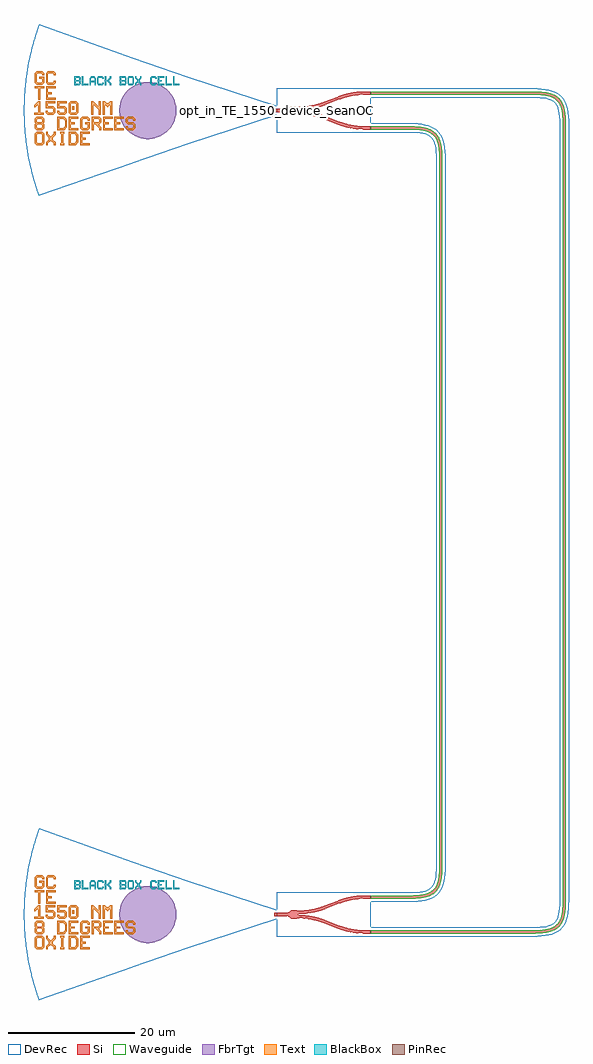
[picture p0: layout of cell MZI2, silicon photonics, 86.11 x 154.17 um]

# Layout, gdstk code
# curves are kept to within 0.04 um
import gdstk
lib = gdstk.Library(unit=1e-6, precision=1e-09)
def R(c, l, rs):  # rectangles x0, y0, x1, y1
    for r in rs: c.add(gdstk.rectangle(r[:2], r[2:], *l))
def P(c, l, *ps):  # polygons
    for p in ps: c.add(gdstk.Polygon(p, *l))
Si = (1, 0)
PinRec = (1, 10)
Waveguide = (1, 99)
Text = (10, 0)
DevRec = (68, 0)
FbrTgt = (81, 0)
BlackBox = (998, 0)

text = lib.new_cell('TEXT')
P(text, BlackBox, [(0,0),(0,1.4),(0.8,1.4),(1,1.2),(0.2,1.2),(0.2,0.8),(0.7,0.8),(0.8,0.9),(0.8,1.1),(0.7,1.2),(1,1.2),(1,0.8),(0.9,0.7),(1,0.6),(0.2,0.6),(0.2,0.2),(0.7,0.2),(0.8,0.3),(0.8,0.5),(0.7,0.6),(1,0.6),(1,0.2),(0.8,0)],
  [(1.2,0),(1.2,1.4),(1.4,1.4),(1.4,0.2),(2.2,0.2),(2.2,0)],
  [(2.4,0),(2.4,1.1),(2.7,1.4),(3.1,1.4),(3.3,1.2),(2.8,1.2),(2.6,1),(2.6,0.7),(3.2,0.7),(3.2,1),(3,1.2),(3.3,1.2),(3.4,1.1),(3.4,0),(3.2,0),(3.2,0.5),(2.6,0.5),(2.6,0)],
  [(3.8,0),(3.6,0.2),(3.6,1.2),(3.8,1.4),(4.4,1.4),(4.6,1.2),(4.6,1),(4.4,1),(4.4,1.1),(4.3,1.2),(3.9,1.2),(3.8,1.1),(3.8,0.3),(3.9,0.2),(4.3,0.2),(4.4,0.3),(4.4,0.4),(4.6,0.4),(4.6,0.2),(4.4,0)],
  [(4.8,0),(4.8,1.4),(5,1.4),(5,0.8),(5.2,0.8),(5.6,1.2),(5.6,1.4),(5.8,1.4),(5.8,1.1),(5.4,0.7),(5.8,0.3),(5.8,0),(5.6,0),(5.6,0.2),(5.2,0.6),(5,0.6),(5,0)],
  [(7.2,0),(7.2,1.4),(8,1.4),(8.2,1.2),(7.4,1.2),(7.4,0.8),(7.9,0.8),(8,0.9),(8,1.1),(7.9,1.2),(8.2,1.2),(8.2,0.8),(8.1,0.7),(8.2,0.6),(7.4,0.6),(7.4,0.2),(7.9,0.2),(8,0.3),(8,0.5),(7.9,0.6),(8.2,0.6),(8.2,0.2),(8,0)],
  [(8.6,0),(8.4,0.2),(8.4,1.2),(8.6,1.4),(9.2,1.4),(9.4,1.2),(9.4,0.7),(9.2,0.7),(9.2,1.1),(9.1,1.2),(8.7,1.2),(8.6,1.1),(8.6,0.3),(8.7,0.2),(9.1,0.2),(9.2,0.3),(9.2,0.7),(9.4,0.7),(9.4,0.2),(9.2,0)],
  [(9.6,0),(9.6,0.3),(9.9,0.6),(9.9,0.8),(9.6,1.1),(9.6,1.4),(9.8,1.4),(9.8,1.2),(10.1,0.9),(10.4,1.2),(10.4,1.4),(10.6,1.4),(10.6,1.1),(10.3,0.8),(10.3,0.6),(10.6,0.3),(10.6,0),(10.4,0),(10.4,0.2),(10.1,0.5),(9.8,0.2),(9.8,0)],
  [(12.2,0),(12,0.2),(12,1.2),(12.2,1.4),(12.8,1.4),(13,1.2),(13,1),(12.8,1),(12.8,1.1),(12.7,1.2),(12.3,1.2),(12.2,1.1),(12.2,0.3),(12.3,0.2),(12.7,0.2),(12.8,0.3),(12.8,0.4),(13,0.4),(13,0.2),(12.8,0)],
  [(13.2,0),(13.2,1.4),(14.2,1.4),(14.2,1.2),(13.4,1.2),(13.4,0.8),(13.8,0.8),(13.8,0.6),(13.4,0.6),(13.4,0.2),(14.2,0.2),(14.2,0)],
  [(14.4,0),(14.4,1.4),(14.6,1.4),(14.6,0.2),(15.4,0.2),(15.4,0)],
  [(15.6,0),(15.6,1.4),(15.8,1.4),(15.8,0.2),(16.6,0.2),(16.6,0)])

gc_te_1550_8degoxide_bb = lib.new_cell('GC_TE_1550_8degOxide_BB')
R(gc_te_1550_8degoxide_bb, Si, [(-0.4,-0.25,0,0.25)])
R(gc_te_1550_8degoxide_bb, Text, [(-32.313,0.092,-32.013,0.692)])
P(gc_te_1550_8degoxide_bb, Text, [(-37.67,1.71),(-37.67,3.51),(-38.27,3.51),(-38.27,3.81),(-36.77,3.81),(-36.77,3.51),(-37.37,3.51),(-37.37,1.71)],
  [(-37.97,-5.49),(-38.27,-5.19),(-38.27,-3.69),(-37.97,-3.39),(-37.07,-3.39),(-36.77,-3.69),(-36.77,-4.44),(-37.07,-4.44),(-37.07,-3.84),(-37.22,-3.69),(-37.82,-3.69),(-37.97,-3.84),(-37.97,-5.04),(-37.82,-5.19),(-37.22,-5.19),(-37.07,-5.04),(-37.07,-4.44),(-36.77,-4.44),(-36.77,-5.19),(-37.07,-5.49)],
  [(-31.07,-5.49),(-31.07,-3.39),(-29.57,-3.39),(-29.57,-3.69),(-30.77,-3.69),(-30.77,-4.29),(-30.17,-4.29),(-30.17,-4.59),(-30.77,-4.59),(-30.77,-5.19),(-29.57,-5.19),(-29.57,-5.49)],
  [(-32.87,-3.09),(-32.87,-0.99),(-31.37,-0.99),(-31.37,-1.29),(-32.57,-1.29),(-32.57,-1.89),(-31.97,-1.89),(-31.97,-2.19),(-32.57,-2.19),(-32.57,-2.79),(-31.37,-2.79),(-31.37,-3.09)],
  [(-27.47,-3.09),(-27.47,-0.99),(-25.97,-0.99),(-25.97,-1.29),(-27.17,-1.29),(-27.17,-1.89),(-26.57,-1.89),(-26.57,-2.19),(-27.17,-2.19),(-27.17,-2.79),(-25.97,-2.79),(-25.97,-3.09)],
  [(-25.67,-3.09),(-25.67,-0.99),(-24.17,-0.99),(-24.17,-1.29),(-25.37,-1.29),(-25.37,-1.89),(-24.77,-1.89),(-24.77,-2.19),(-25.37,-2.19),(-25.37,-2.79),(-24.17,-2.79),(-24.17,-3.09)],
  [(-36.47,1.71),(-36.47,3.81),(-34.97,3.81),(-34.97,3.51),(-36.17,3.51),(-36.17,2.91),(-35.57,2.91),(-35.57,2.61),(-36.17,2.61),(-36.17,2.01),(-34.97,2.01),(-34.97,1.71)],
  [(-29.313,-0.658),(-29.313,1.442),(-29.013,1.442),(-28.263,0.692),(-28.113,0.692),(-28.113,1.442),(-27.813,1.442),(-27.813,-0.658),(-28.113,-0.658),(-28.113,0.092),(-28.863,0.842),(-29.013,0.842),(-29.013,-0.658)],
  [(-34.22,-5.49),(-34.22,-5.19),(-34.07,-5.19),(-34.07,-3.69),(-34.22,-3.69),(-34.22,-3.39),(-33.62,-3.39),(-33.62,-3.69),(-33.77,-3.69),(-33.77,-5.19),(-33.62,-5.19),(-33.62,-5.49)],
  [(-36.17,4.11),(-36.47,4.41),(-36.47,5.91),(-36.17,6.21),(-35.27,6.21),(-34.97,5.91),(-34.97,5.61),(-35.27,5.61),(-35.27,5.76),(-35.42,5.91),(-36.02,5.91),(-36.17,5.76),(-36.17,4.56),(-36.02,4.41),(-35.42,4.41),(-35.27,4.56),(-35.27,4.71),(-34.97,4.71),(-34.97,4.41),(-35.27,4.11)],
  [(-27.513,-0.658),(-27.513,1.442),(-27.213,1.442),(-26.913,1.142),(-26.613,1.142),(-26.313,1.442),(-26.013,1.442),(-26.013,-0.658),(-26.313,-0.658),(-26.313,0.842),(-26.463,0.842),(-26.763,0.542),(-27.063,0.842),(-27.213,0.842),(-27.213,-0.658)],
  [(-32.613,-0.658),(-32.913,-0.358),(-32.913,1.142),(-32.613,1.442),(-31.713,1.442),(-31.413,1.142),(-32.463,1.142),(-32.613,0.992),(-32.613,-0.208),(-32.463,-0.358),(-31.863,-0.358),(-31.713,-0.208),(-31.713,0.992),(-31.863,1.142),(-31.413,1.142),(-31.413,-0.358),(-31.713,-0.658)],
  [(-32.87,-5.49),(-32.87,-3.39),(-31.82,-3.39),(-31.52,-3.69),(-32.57,-3.69),(-32.57,-5.19),(-31.97,-5.19),(-31.67,-4.89),(-31.67,-3.99),(-31.97,-3.69),(-31.52,-3.69),(-31.37,-3.84),(-31.37,-5.04),(-31.82,-5.49)],
  [(-34.67,-3.09),(-34.67,-0.99),(-33.62,-0.99),(-33.32,-1.29),(-34.37,-1.29),(-34.37,-2.79),(-33.77,-2.79),(-33.47,-2.49),(-33.47,-1.59),(-33.77,-1.29),(-33.32,-1.29),(-33.17,-1.44),(-33.17,-2.64),(-33.62,-3.09)],
  [(-23.57,-3.09),(-23.87,-2.79),(-23.87,-2.49),(-23.57,-2.49),(-23.57,-2.64),(-23.42,-2.79),(-22.82,-2.79),(-22.67,-2.64),(-22.67,-2.34),(-22.82,-2.19),(-23.57,-2.19),(-23.87,-1.89),(-23.87,-1.29),(-23.57,-0.99),(-22.67,-0.99),(-22.37,-1.29),(-22.37,-1.59),(-22.67,-1.59),(-22.67,-1.44),(-22.82,-1.29),(-23.42,-1.29),(-23.57,-1.44),(-23.57,-1.74),(-23.42,-1.89),(-22.67,-1.89),(-22.37,-2.19),(-22.37,-2.79),(-22.67,-3.09)],
  [(-36.213,-0.658),(-36.513,-0.358),(-36.513,-0.058),(-36.213,-0.058),(-36.213,-0.208),(-36.063,-0.358),(-35.463,-0.358),(-35.313,-0.208),(-35.313,0.242),(-35.463,0.392),(-36.513,0.392),(-36.513,1.442),(-35.013,1.442),(-35.013,1.142),(-36.213,1.142),(-36.213,0.692),(-35.313,0.692),(-35.013,0.392),(-35.013,-0.358),(-35.313,-0.658)],
  [(-34.413,-0.658),(-34.713,-0.358),(-34.713,-0.058),(-34.413,-0.058),(-34.413,-0.208),(-34.263,-0.358),(-33.663,-0.358),(-33.513,-0.208),(-33.513,0.242),(-33.663,0.392),(-34.713,0.392),(-34.713,1.442),(-33.213,1.442),(-33.213,1.142),(-34.413,1.142),(-34.413,0.692),(-33.513,0.692),(-33.213,0.392),(-33.213,-0.358),(-33.513,-0.658)],
  [(-37.97,-3.09),(-38.27,-2.79),(-38.27,-2.19),(-38.12,-2.04),(-38.27,-1.89),(-38.27,-1.29),(-37.97,-0.99),(-37.07,-0.99),(-36.77,-1.29),(-37.82,-1.29),(-37.97,-1.44),(-37.97,-1.74),(-37.82,-1.89),(-37.22,-1.89),(-37.07,-1.74),(-37.07,-1.44),(-37.22,-1.29),(-36.77,-1.29),(-36.77,-1.89),(-36.92,-2.04),(-36.77,-2.19),(-37.82,-2.19),(-37.97,-2.34),(-37.97,-2.64),(-37.82,-2.79),(-37.22,-2.79),(-37.07,-2.64),(-37.07,-2.34),(-37.22,-2.19),(-36.77,-2.19),(-36.77,-2.79),(-37.07,-3.09)],
  [(-38.313,-0.658),(-38.313,-0.358),(-37.713,-0.358),(-37.713,0.842),(-37.863,0.842),(-38.163,0.542),(-38.313,0.542),(-38.313,0.842),(-37.713,1.442),(-37.413,1.442),(-37.413,-0.358),(-36.813,-0.358),(-36.813,-0.658)],
  [(-36.47,-5.49),(-36.47,-5.04),(-36.02,-4.59),(-36.02,-4.29),(-36.47,-3.84),(-36.47,-3.39),(-36.17,-3.39),(-36.17,-3.69),(-35.72,-4.14),(-35.27,-3.69),(-35.27,-3.39),(-34.97,-3.39),(-34.97,-3.84),(-35.42,-4.29),(-35.42,-4.59),(-34.97,-5.04),(-34.97,-5.49),(-35.27,-5.49),(-35.27,-5.19),(-35.72,-4.74),(-36.17,-5.19),(-36.17,-5.49)],
  [(-30.77,-3.09),(-31.07,-2.79),(-31.07,-1.29),(-30.77,-0.99),(-29.87,-0.99),(-29.57,-1.29),(-29.57,-1.59),(-29.87,-1.59),(-29.87,-1.44),(-30.02,-1.29),(-30.62,-1.29),(-30.77,-1.44),(-30.77,-2.64),(-30.62,-2.79),(-30.02,-2.79),(-29.87,-2.64),(-29.87,-2.19),(-30.32,-2.19),(-30.32,-1.89),(-29.57,-1.89),(-29.57,-2.79),(-29.87,-3.09)],
  [(-37.97,4.11),(-38.27,4.41),(-38.27,5.91),(-37.97,6.21),(-37.07,6.21),(-36.77,5.91),(-36.77,5.61),(-37.07,5.61),(-37.07,5.76),(-37.22,5.91),(-37.82,5.91),(-37.97,5.76),(-37.97,4.56),(-37.82,4.41),(-37.22,4.41),(-37.07,4.56),(-37.07,5.01),(-37.52,5.01),(-37.52,5.31),(-36.77,5.31),(-36.77,4.41),(-37.07,4.11)],
  [(-29.27,-3.09),(-29.27,-0.99),(-28.07,-0.99),(-27.77,-1.29),(-28.97,-1.29),(-28.97,-1.89),(-28.22,-1.89),(-28.07,-1.74),(-28.07,-1.44),(-28.22,-1.29),(-27.77,-1.29),(-27.77,-1.89),(-28.07,-2.19),(-28.07,-2.34),(-27.77,-2.64),(-27.77,-3.09),(-28.07,-3.09),(-28.07,-2.79),(-28.67,-2.19),(-28.97,-2.19),(-28.97,-3.09)])
P(gc_te_1550_8degoxide_bb, DevRec, [(-37.607,-13.5),(-38.627,-10.245),(-39.378,-6.832),(-39.647,-5.058),(-39.835,-3.274),(-39.969,0.224),(-39.812,3.541),(-39.331,7.097),(-38.557,10.505),(-37.546,13.669),(-22.8,8.353),(-14.109,5.36),(0,0.75),(0,-0.75),(-14.109,-5.36)])
P(gc_te_1550_8degoxide_bb, FbrTgt, [(-20.621,-4.5),(-21.495,-4.37),(-22.326,-4.073),(-23.084,-3.619),(-23.738,-3.026),(-24.264,-2.316),(-24.642,-1.518),(-24.857,-0.661),(-24.9,0.221),(-24.77,1.095),(-24.473,1.926),(-24.019,2.684),(-23.426,3.338),(-22.716,3.864),(-21.918,4.242),(-21.061,4.457),(-20.179,4.5),(-19.305,4.37),(-18.474,4.073),(-17.716,3.619),(-17.062,3.026),(-16.536,2.316),(-16.158,1.518),(-15.943,0.661),(-15.9,-0.221),(-16.03,-1.095),(-16.327,-1.926),(-16.781,-2.684),(-17.374,-3.338),(-18.084,-3.864),(-18.882,-4.242),(-19.739,-4.457)])
gc_te_1550_8degoxide_bb.add(gdstk.FlexPath([(-0.01,0),(0.01,0)], 0.5, ends="flush", simple_path=True, layer=1, datatype=10))  # PinRec
gc_te_1550_8degoxide_bb.add(gdstk.Reference(text, (-32,4)))
gc_te_1550_8degoxide_bb.add(gdstk.Label('opt1', (0,0), layer=1, texttype=10))
gc_te_1550_8degoxide_bb.add(gdstk.Label('Lumerical_INTERCONNECT_library=Design kits/ebeam', (-29,-7), layer=68, texttype=0))
gc_te_1550_8degoxide_bb.add(gdstk.Label('Component=GC_TE_1550_8degOxide_BB', (-28,-5), layer=68, texttype=0))

ebeam_y_1550 = lib.new_cell('ebeam_y_1550')
R(ebeam_y_1550, Si, [(6.5,-3,7.4,-2.5), (-7.4,-0.25,-6,0.25), (6.5,2.5,7.4,3)])
P(ebeam_y_1550, Si, [(6.458,-3),(6.237,-2.997),(6.237,-2.497),(6.5,-2.5),(6.5,-3)],
  [(5.033,-2.908),(3.59,-2.634),(2.265,-2.21),(2.445,-1.744),(3.731,-2.154),(5.033,-2.404)],
  [(6.233,-2.997),(5.033,-2.908),(5.033,-2.404),(6.237,-2.497)],
  [(2.265,-2.21),(0.055,-1.356),(0.235,-0.89),(2.445,-1.744)],
  [(-0.762,-1.076),(-2.334,-0.724),(-4,-0.6),(-4,-0.1),(-2.381,-0.212),(-0.762,-0.555)],
  [(0.055,-1.356),(-0.762,-1.076),(-0.762,-0.555),(0.235,-0.89)],
  [(6.237,2.497),(6.237,2.997),(6.5,3),(6.5,2.5)],
  [(2.445,1.744),(2.267,2.211),(3.59,2.634),(5.033,2.908),(5.033,2.404),(3.731,2.154)],
  [(5.033,2.404),(5.033,2.908),(6.237,2.997),(6.237,2.497)],
  [(0.235,0.89),(0.055,1.356),(2.265,2.21),(2.445,1.744)],
  [(-4,0.1),(-4,0.6),(-2.334,0.724),(-0.762,1.076),(-0.762,0.555),(-2.381,0.212)],
  [(-0.762,0.555),(-0.762,1.076),(0.055,1.356),(0.235,0.89)],
  [(-5.122,-0.662),(-5.442,-0.374),(-5.808,-0.255),(-6,-0.25),(-6,0.25),(-5.817,0.253),(-5.442,0.374),(-5.122,0.662)],
  [(-4.957,-0.703),(-5.122,-0.662),(-5.122,0.662),(-4.538,0.703),(-4,0.6),(-4,-0.6),(-4.509,-0.701)])
R(ebeam_y_1550, DevRec, [(-7.4,-3.5,7.4,3.5)])
ebeam_y_1550.add(gdstk.FlexPath([(-7.35,0),(-7.45,0)], 0.5, ends="flush", simple_path=True, layer=1, datatype=10))  # PinRec
ebeam_y_1550.add(gdstk.FlexPath([(7.35,2.75),(7.45,2.75)], 0.5, ends="flush", simple_path=True, layer=1, datatype=10))  # PinRec
ebeam_y_1550.add(gdstk.FlexPath([(7.35,-2.75),(7.45,-2.75)], 0.5, ends="flush", simple_path=True, layer=1, datatype=10))  # PinRec
ebeam_y_1550.add(gdstk.Label('opt2', (7.4,2.75), layer=1, texttype=10))
ebeam_y_1550.add(gdstk.Label('opt3', (7.4,-2.75), layer=1, texttype=10))
ebeam_y_1550.add(gdstk.Label('opt1', (-7.4,0), layer=1, texttype=10))
ebeam_y_1550.add(gdstk.Label('Component=ebeam_y_1550', (-6,1.5), layer=68, texttype=0))
ebeam_y_1550.add(gdstk.Label('Lumerical_INTERCONNECT_library=Design kits/ebeam', (-6.86,-2.19), layer=68, texttype=0))
ebeam_y_1550.add(gdstk.Label('Ref: Y Zhang, Opt. Express, 21/1, 2013', (-7.5,-1), layer=10, texttype=0))

waveguide = lib.new_cell('Waveguide')
P(waveguide, Si, [(16.6,-1.8),(16.6,-1.3),(42.19,-1.3),(43.575,-1.247),(44.931,-0.997),(45.772,-0.581),(46.155,-0.218),(46.399,0.146),(46.744,1.108),(46.901,2.243),(46.94,3.45),(46.94,125.95),(46.902,127.156),(46.745,128.291),(46.4,129.253),(46.156,129.617),(45.773,129.98),(45.284,130.263),(44.803,130.435),(43.397,130.661),(16.6,130.7),(16.6,131.2),(42.19,131.2),(43.622,131.144),(44.64,130.992),(45.358,130.774),(45.962,130.459),(46.367,130.127),(46.771,129.61),(47.015,129.117),(47.233,128.399),(47.367,127.563),(47.436,126.387),(47.44,3.45),(47.384,2.018),(47.232,1),(47.014,0.282),(46.77,-0.211),(46.456,-0.633),(46.07,-0.983),(45.612,-1.261),(45.083,-1.473),(43.621,-1.745),(42.19,-1.8)])
P(waveguide, Waveguide, [(16.6,-1.8),(16.6,-1.3),(42.19,-1.3),(43.575,-1.247),(44.931,-0.997),(45.772,-0.581),(46.155,-0.218),(46.399,0.146),(46.744,1.108),(46.901,2.243),(46.94,3.45),(46.94,125.95),(46.902,127.156),(46.745,128.291),(46.4,129.253),(46.156,129.617),(45.773,129.98),(45.284,130.263),(44.803,130.435),(43.397,130.661),(16.6,130.7),(16.6,131.2),(42.19,131.2),(43.622,131.144),(44.64,130.992),(45.358,130.774),(45.962,130.459),(46.367,130.127),(46.771,129.61),(47.015,129.117),(47.233,128.399),(47.367,127.563),(47.436,126.387),(47.44,3.45),(47.384,2.018),(47.232,1),(47.014,0.282),(46.77,-0.211),(46.456,-0.633),(46.07,-0.983),(45.612,-1.261),(45.083,-1.473),(43.621,-1.745),(42.19,-1.8)])
P(waveguide, DevRec, [(16.6,-2.3),(16.6,-0.8),(42.19,-0.8),(43.934,-0.703),(44.765,-0.525),(45.085,-0.405),(45.565,-0.108),(45.747,0.074),(46.044,0.554),(46.264,1.256),(46.397,2.219),(46.44,3.45),(46.44,125.95),(46.398,127.18),(46.265,128.143),(45.905,129.108),(45.748,129.325),(45.349,129.664),(44.384,130.024),(43.421,130.157),(42.19,130.2),(16.6,130.2),(16.6,131.7),(42.19,131.7),(43.541,131.653),(44.7,131.49),(45.7,131.172),(46.141,130.938),(46.54,130.647),(47.179,129.9),(47.413,129.459),(47.731,128.459),(47.93,126.651),(47.94,3.45),(47.893,2.099),(47.73,0.94),(47.412,-0.06),(47.178,-0.501),(46.539,-1.248),(46.14,-1.539),(45.217,-1.955),(44.699,-2.091),(43.54,-2.254),(42.19,-2.3)])
waveguide.add(gdstk.FlexPath([(16.61,-1.55),(16.59,-1.55)], 0.5, ends="flush", simple_path=True, layer=1, datatype=10))  # PinRec
waveguide.add(gdstk.FlexPath([(16.61,130.95),(16.59,130.95)], 0.5, ends="flush", simple_path=True, layer=1, datatype=10))  # PinRec
waveguide.add(gdstk.Label('opt1', (16.6,-1.55), layer=1, texttype=10))
waveguide.add(gdstk.Label('opt2', (16.6,130.95), layer=1, texttype=10))
waveguide.add(gdstk.Label('Lumerical_INTERCONNECT_library=Design kits/EBeam', (16.6,-1.65), layer=68, texttype=0))
waveguide.add(gdstk.Label('Component=ebeam_wg_integral_1550', (16.6,-1.45), layer=68, texttype=0))
waveguide.add(gdstk.Label('cellName=Waveguide', (16.6,-1.35), layer=68, texttype=0))
waveguide.add(gdstk.Label('Spice_param:wg_length=0.000190577 wg_width=5e-07 points="[[16.6,-1.55],[47.19,-1.55],[47.19,130.95],[16.6,130.95]]" radius=5e-06', (16.6,-1.55), layer=68, texttype=0))
waveguide.add(gdstk.Label('Length=190.577 (microns)', (16.6,-2.15), layer=68, texttype=0))
waveguide.add(gdstk.Label('waveguide_type=Strip TE 1550 nm, w=500 nm', (16.6,-1.75), layer=68, texttype=0))

waveguide_1 = lib.new_cell('Waveguide$1')
P(waveguide_1, Si, [(16.6,3.7),(16.6,4.2),(23.52,4.218),(24.735,4.338),(25.672,4.59),(26.358,4.985),(26.656,5.283),(26.9,5.647),(27.245,6.609),(27.413,7.929),(27.44,120.45),(27.386,121.836),(27.175,123.063),(26.783,123.944),(26.513,124.273),(26.183,124.544),(25.431,124.897),(24.579,125.088),(23.321,125.191),(16.6,125.2),(16.6,125.7),(23.739,125.673),(24.82,125.555),(25.722,125.326),(26.461,124.96),(26.956,124.533),(27.337,123.994),(27.655,123.201),(27.845,122.241),(27.93,121.098),(27.913,7.901),(27.733,6.501),(27.566,5.918),(27.338,5.407),(27.042,4.967),(26.674,4.599),(26.234,4.303),(25.723,4.075),(24.821,3.846),(23.542,3.718)])
P(waveguide_1, Waveguide, [(16.6,3.7),(16.6,4.2),(23.52,4.218),(24.735,4.338),(25.672,4.59),(26.358,4.985),(26.656,5.283),(26.9,5.647),(27.245,6.609),(27.413,7.929),(27.44,120.45),(27.386,121.836),(27.175,123.063),(26.783,123.944),(26.513,124.273),(26.183,124.544),(25.431,124.897),(24.579,125.088),(23.321,125.191),(16.6,125.2),(16.6,125.7),(23.739,125.673),(24.82,125.555),(25.722,125.326),(26.461,124.96),(26.956,124.533),(27.337,123.994),(27.655,123.201),(27.845,122.241),(27.93,121.098),(27.913,7.901),(27.733,6.501),(27.566,5.918),(27.338,5.407),(27.042,4.967),(26.674,4.599),(26.234,4.303),(25.723,4.075),(24.821,3.846),(23.542,3.718)])
P(waveguide_1, DevRec, [(16.6,3.2),(16.6,4.7),(23.34,4.711),(24.435,4.798),(25.586,5.096),(26.066,5.393),(26.248,5.575),(26.545,6.055),(26.765,6.757),(26.898,7.72),(26.94,8.95),(26.94,120.45),(26.897,121.681),(26.764,122.644),(26.404,123.609),(26.247,123.826),(25.848,124.165),(25.265,124.425),(24.434,124.603),(23.339,124.69),(16.6,124.7),(16.6,126.2),(24.04,126.154),(25.199,125.991),(26.199,125.673),(27.039,125.148),(27.387,124.8),(27.678,124.401),(28.094,123.478),(28.328,122.403),(28.429,121.152),(28.44,8.95),(28.394,7.6),(28.231,6.441),(28.095,5.923),(27.679,5),(27.04,4.253),(26.641,3.962),(25.718,3.546),(24.643,3.312),(23.392,3.211)])
waveguide_1.add(gdstk.FlexPath([(16.61,125.45),(16.59,125.45)], 0.5, ends="flush", simple_path=True, layer=1, datatype=10))  # PinRec
waveguide_1.add(gdstk.FlexPath([(16.61,3.95),(16.59,3.95)], 0.5, ends="flush", simple_path=True, layer=1, datatype=10))  # PinRec
waveguide_1.add(gdstk.Label('opt1', (16.6,125.45), layer=1, texttype=10))
waveguide_1.add(gdstk.Label('opt2', (16.6,3.95), layer=1, texttype=10))
waveguide_1.add(gdstk.Label('Lumerical_INTERCONNECT_library=Design kits/EBeam', (16.6,125.35), layer=68, texttype=0))
waveguide_1.add(gdstk.Label('Component=ebeam_wg_integral_1550', (16.6,125.55), layer=68, texttype=0))
waveguide_1.add(gdstk.Label('cellName=Waveguide', (16.6,125.65), layer=68, texttype=0))
waveguide_1.add(gdstk.Label('Spice_param:wg_length=0.000140577 wg_width=5e-07 points="[[16.6,125.45],[27.69,125.45],[27.69,3.95],[16.6,3.95]]" radius=5e-06', (16.6,125.45), layer=68, texttype=0))
waveguide_1.add(gdstk.Label('Length=140.577 (microns)', (16.6,124.85), layer=68, texttype=0))
waveguide_1.add(gdstk.Label('waveguide_type=Strip TE 1550 nm, w=500 nm', (16.6,125.25), layer=68, texttype=0))

mzi2 = lib.new_cell('MZI2')
mzi2.add(gdstk.Reference(gc_te_1550_8degoxide_bb, (50.42,20.06)))
mzi2.add(gdstk.Reference(ebeam_y_1550, (57.82,147.06)))
mzi2.add(gdstk.Reference(ebeam_y_1550, (57.82,20.06)))
mzi2.add(gdstk.Reference(gc_te_1550_8degoxide_bb, (50.42,147.06)))
mzi2.add(gdstk.Reference(waveguide, (48.62,18.86)))
mzi2.add(gdstk.Reference(waveguide_1, (48.62,18.86)))
mzi2.add(gdstk.Label('opt_in_TE_1550_device_SeanOConnor_MZI2', (50.42,147.06), layer=10, texttype=0))

lib.write_gds('MZI2.gds')
